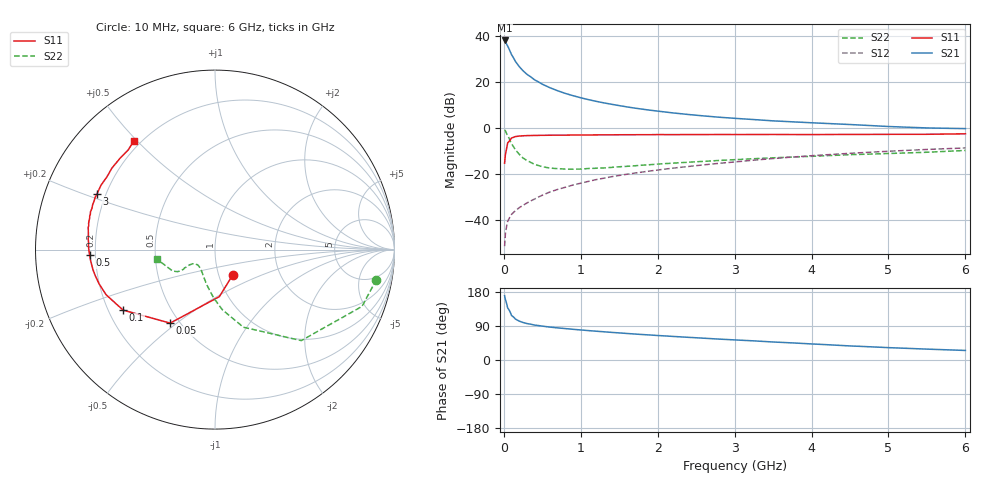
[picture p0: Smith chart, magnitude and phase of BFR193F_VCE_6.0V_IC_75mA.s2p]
! Infineon Technologies  Discrete & RF Semiconductors
! BFR193F
! VCE =  6.0 V,  IC =  75 mA
! Common Emitter S-Parameters:  Jan 2017
# GHz  S  MA  R  50
!  f  S11  S21  S12  S22
! GHz  MAG  ANG  MAG  ANG  MAG  ANG  MAG  ANG
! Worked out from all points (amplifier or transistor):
!   77 points, 10 MHz to 6 GHz, reference 50 ohm
!   highest |S21| = 38.2 dB at 10 MHz (marker M1)
!   |S21| within 3 dB of that: start of sweep to 57.9 MHz
!   unconditionally stable (mu >= 1): 717.9 MHz to 2.491 GHz
!   at 130 MHz: K = 0.56, MSG = 33.4 dB, |S12| = -36.5 dB
!   at 2.2 GHz: K = 1.02, MAG = 11.3 dB, |S12| = -17.4 dB
!   at 6 GHz: K = 0.86, MSG = 4.2 dB, |S12| = -8.6 dB
!   S11 on the Smith chart (normalised r, x): 10 MHz: 1.16, -0.34; 50 MHz: 0.44, -0.47; 100 MHz: 0.26, -0.28; 500 MHz: 0.18, -0.02; 3 GHz: 0.17, +0.22; 6 GHz: 0.17, +0.49
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0.01  0.1729 -55.4  81.2 169.8  0.0027 88.1  0.9146 -10.5
0.02  0.2632 -84.7  77.61 159.7  0.005 75.3  0.8782 -21.1
0.05  0.4798 -121.4  61.2 137.2  0.0094 62.8  0.6989 -46.5
0.1  0.6129 -146.6  39.91 117.4  0.0133 52.7  0.4605 -69.9
0.15  0.6568 -157.5  28.49 108.1  0.0159 54.0  0.3376 -83.0
0.2  0.6736 -163.6  21.91 102.6  0.0186 57.7  0.2708 -91.4
0.25  0.6831 -167.9  17.73 98.9  0.0209 59.6  0.2241 -98.4
0.3  0.6889 -170.6  14.91 96.2  0.0235 63.2  0.1979 -104.0
0.4  0.6952 -174.6  11.27 92.1  0.0287 66.6  0.1627 -113.0
0.5  0.6991 -177.4  9.066 89.4  0.0347 69.0  0.145 -120.0
0.6  0.7024 -179.6  7.587 86.8  0.0409 71.3  0.1352 -125.7
0.7  0.7056 178.3  6.521 84.7  0.0465 72.4  0.1315 -130.0
0.9  0.7091 175.2  5.093 81.0  0.058 74.0  0.1281 -137.4
1.1  0.7116 172.5  4.18 77.6  0.0695 75.2  0.1325 -141.4
1.3  0.717 170.1  3.555 74.5  0.0815 75.5  0.1362 -144.4
1.6  0.7201 166.9  2.906 70.0  0.0994 75.4  0.1477 -147.8
2.1  0.724 162.3  2.248 63.5  0.1288 74.9  0.1693 -149.1
3  0.7273 154.8  1.639 53.0  0.1837 73.1  0.2062 -148.1
3.1  0.7274 153.9  1.599 52.0  0.1906 72.7  0.2102 -148.1
4.1  0.7267 145.2  1.288 41.4  0.2579 68.4  0.2479 -150.4
5.1  0.734 135.3  1.072 31.9  0.3203 62.6  0.2844 -160.3
6  0.7544 126.9  0.978 25.2  0.3713 57.0  0.3275 -170.6
